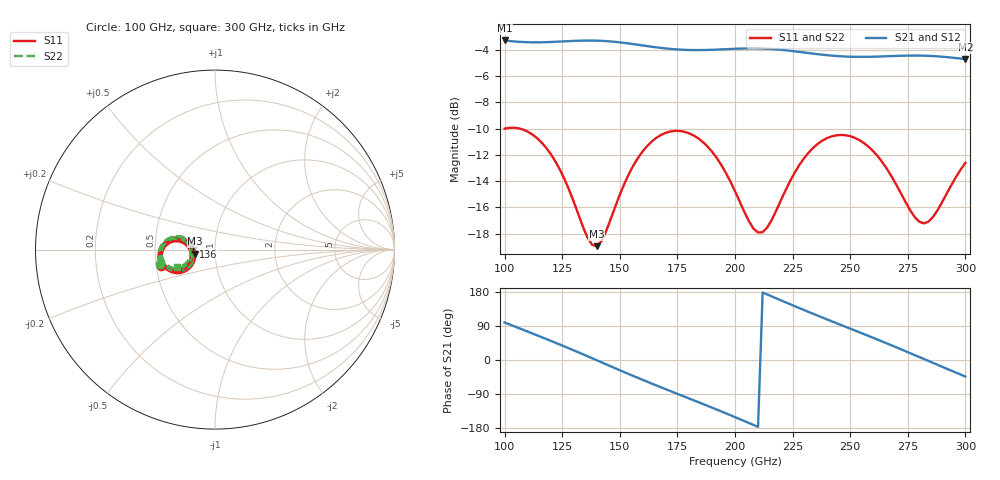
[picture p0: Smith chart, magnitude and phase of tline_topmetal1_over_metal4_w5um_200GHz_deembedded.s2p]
! Created with skrf 2.0.1 (http://scikit-rf.org).
# GHz S DB R 50.0
!freq dBS11 angS11 dBS21 angS21 dBS12 angS12 dBS22 angS22
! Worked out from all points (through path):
!   101 points, 100 GHz to 300 GHz, reference 50 ohm
!   highest |S21| = -3.28 dB at 100 GHz (marker M1); lowest = -4.7 dB at 300 GHz (marker M2)
!   group delay of S21, straight-line fit = 6.98 ps
!   lowest |S11| = -19.0 dB at 140 GHz (marker M3), VSWR 1.25, Z = 40 - j1.8 ohm
!   |S11| at or under -10 dB: start of sweep to 100.2165 GHz; 106.5 GHz to end of sweep
!   |S22| runs from -19.0 to -10.0 dB; largest |S21 - S12| = 1e-13
!   S11 on the Smith chart (normalised r, x): 100 GHz: 0.53, -0.11; 136 GHz: 0.78, +0.02; 300 GHz: 0.65, -0.15
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100  -10.01 -163.4  -3.28 99.0  -3.28 99.0  -10.03 -165.1
108  -10.07 -176.8  -3.40 79.8  -3.40 79.8  -10.10 -178.6
116  -11.05 170.9  -3.42 60.5  -3.42 60.5  -11.08 169.0
124  -13.13 162.0  -3.36 40.7  -3.36 40.7  -13.16 159.9
134  -17.48 167.5  -3.29 15.1  -3.29 15.1  -17.54 165.3
136  -18.32 173.8  -3.29 9.9  -3.29 9.9  -18.39 171.5
140  -18.96 -168.6  -3.29 -0.7  -3.29 -0.7  -19.05 -170.8
148  -15.96 -144.9  -3.39 -21.7  -3.39 -21.7  -16.02 -147.0
156  -12.78 -145.8  -3.56 -42.4  -3.56 -42.4  -12.82 -148.1
168  -10.47 -160.9  -3.85 -72.3  -3.85 -72.3  -10.51 -163.4
184  -10.74 175.8  -4.01 -111.0  -4.01 -111.0  -10.77 173.0
200  -14.77 163.8  -3.91 -150.7  -3.91 -150.7  -14.82 160.7
208  -17.62 178.0  -3.89 -171.4  -3.89 -171.4  -17.70 174.8
212  -17.89 -167.7  -3.90 178.2  -3.90 178.2  -17.98 -170.8
222  -14.68 -147.9  -4.03 152.1  -4.03 152.1  -14.73 -151.0
234  -11.45 -155.2  -4.29 121.7  -4.29 121.7  -11.49 -158.5
250  -10.58 -176.0  -4.52 82.8  -4.52 82.8  -10.61 -179.7
258  -11.39 174.2  -4.53 63.4  -4.53 63.4  -11.42 170.5
268  -13.66 167.3  -4.47 38.5  -4.47 38.5  -13.68 163.4
282  -17.23 -170.9  -4.44 2.6  -4.44 2.6  -17.22 -175.2
290  -15.57 -152.4  -4.52 -18.1  -4.52 -18.1  -15.59 -157.0
300  -12.61 -151.0  -4.70 -43.7  -4.70 -43.7  -12.64 -155.8
